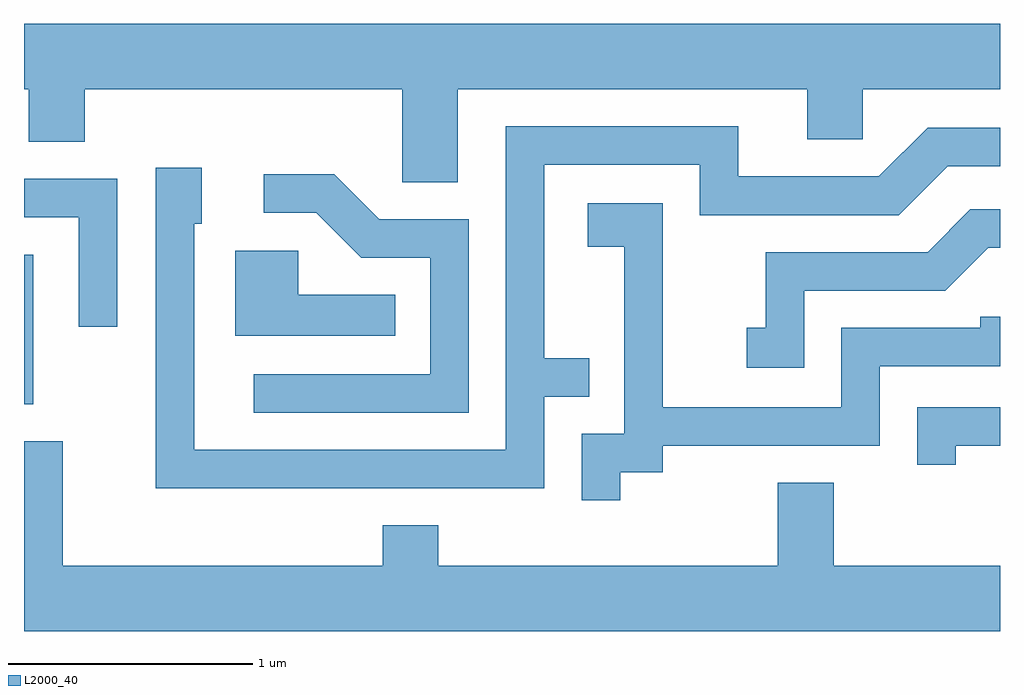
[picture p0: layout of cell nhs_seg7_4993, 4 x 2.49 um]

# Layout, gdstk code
import gdstk
lib = gdstk.Library(unit=1e-6, precision=1e-09)
def R(c, l, rs):  # rectangles x0, y0, x1, y1
    for r in rs: c.add(gdstk.rectangle(r[:2], r[2:], *l))
def P(c, l, *ps):  # polygons
    for p in ps: c.add(gdstk.Polygon(p, *l))
L2000_40 = (2000, 40)

nhs_seg7_4993 = lib.new_cell('nhs_seg7_4993')
R(nhs_seg7_4993, L2000_40, [(337.611,1759.646,337.649,1760.259)])
P(nhs_seg7_4993, L2000_40, [(339.389,1760.936),(340.821,1760.936),(340.821,1760.731),(341.049,1760.731),(341.049,1760.936),(341.611,1760.936),(341.611,1761.204),(337.611,1761.204),(337.611,1760.936),(337.631,1760.936),(337.631,1760.721),(337.859,1760.721),(337.859,1760.936),(339.161,1760.936),(339.161,1760.556),(339.389,1760.556)],
  [(339.744,1759.676),(339.928,1759.676),(339.928,1759.834),(339.744,1759.834),(339.744,1760.626),(340.381,1760.626),(340.381,1760.421),(341.197,1760.421),(341.397,1760.621),(341.611,1760.621),(341.611,1760.779),(341.314,1760.779),(341.114,1760.579),(340.539,1760.579),(340.539,1760.784),(339.586,1760.784),(339.586,1759.459),(338.309,1759.459),(338.309,1760.386),(338.339,1760.386),(338.339,1760.614),(338.151,1760.614),(338.151,1759.301),(339.744,1759.301)],
  [(339.434,1760.404),(339.067,1760.404),(338.882,1760.589),(338.593,1760.589),(338.593,1760.431),(338.809,1760.431),(338.994,1760.246),(339.276,1760.246),(339.276,1759.769),(338.553,1759.769),(338.553,1759.611),(339.434,1759.611)],
  [(337.994,1760.569),(337.611,1760.569),(337.611,1760.411),(337.836,1760.411),(337.836,1759.963),(337.994,1759.963)],
  [(340.054,1759.366),(340.229,1759.366),(340.229,1759.476),(341.119,1759.476),(341.119,1759.801),(341.611,1759.801),(341.611,1760.004),(341.531,1760.004),(341.531,1759.959),(340.961,1759.959),(340.961,1759.634),(340.229,1759.634),(340.229,1760.469),(339.921,1760.469),(339.921,1760.291),(340.071,1760.291),(340.071,1759.524),(339.896,1759.524),(339.896,1759.253),(340.054,1759.253)],
  [(340.809,1760.111),(341.387,1760.111),(341.562,1760.286),(341.611,1760.286),(341.611,1760.444),(341.489,1760.444),(341.314,1760.269),(340.651,1760.269),(340.651,1759.959),(340.573,1759.959),(340.573,1759.796),(340.809,1759.796)],
  [(339.133,1760.094),(338.734,1760.094),(338.734,1760.274),(338.476,1760.274),(338.476,1759.926),(339.133,1759.926)],
  [(341.429,1759.476),(341.611,1759.476),(341.611,1759.634),(341.271,1759.634),(341.271,1759.398),(341.429,1759.398)],
  [(341.611,1758.984),(340.929,1758.984),(340.929,1759.324),(340.701,1759.324),(340.701,1758.984),(339.309,1758.984),(339.309,1759.149),(339.081,1759.149),(339.081,1758.984),(337.769,1758.984),(337.769,1759.494),(337.611,1759.494),(337.611,1758.716),(341.611,1758.716)])

lib.write_gds('nhs_seg7_4993.gds')
